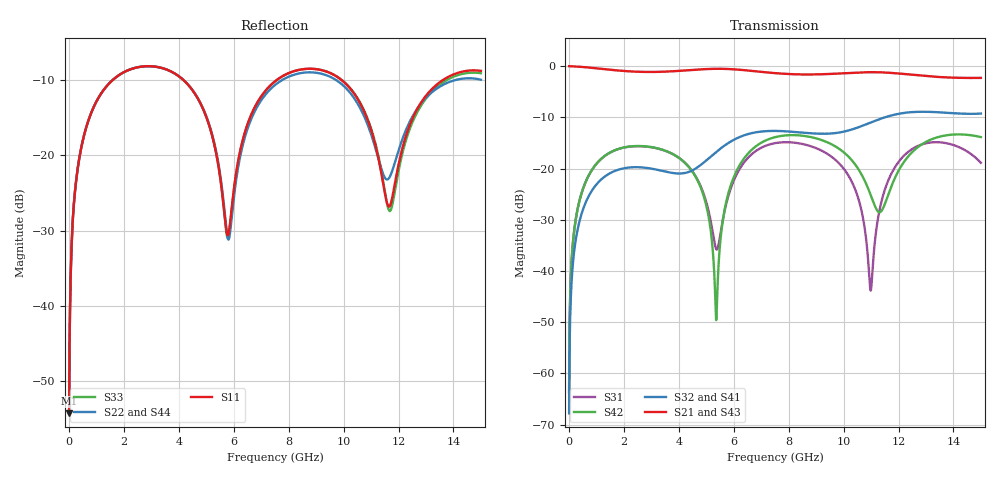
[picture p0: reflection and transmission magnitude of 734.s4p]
! Created with skrf 1.8.0 (http://scikit-rf.org).
# GHz S RI R 50.0
!freq ReS11 ImS11 ReS12 ImS12 ReS13 ImS13
! ReS14 ImS14
! ReS21 ImS21 ReS22 ImS22 ReS23 ImS23
! ReS24 ImS24
! ReS31 ImS31 ReS32 ImS32 ReS33 ImS33
! ReS34 ImS34
! ReS41 ImS41 ReS42 ImS42 ReS43 ImS43
! ReS44 ImS44
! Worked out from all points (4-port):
!   2499 points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, 5 MHz to 15 GHz, reference 50 ohm
!   strongest paths, dB at 5 MHz, 3.476 GHz, 7.19 GHz, 11.1 GHz, 15 GHz:
!     S21: 0.0, -1.1, -1.2, -1.2, -2.3
!     S43: 0.0, -1.1, -1.2, -1.2, -2.3
!     S32: -67.8, -20.6, -12.7, -10.8, -9.3
!     S41: -67.8, -20.6, -12.7, -10.8, -9.3
!     S42: -63.7, -16.5, -14.4, -26.7, -13.9
!     S31: -63.7, -16.5, -15.5, -36.6, -18.9
!   lowest |S11| = -54.2 dB at 5 MHz (marker M1), VSWR 1.00, Z = 50.2 + j0.117 ohm
!   |S11| at or under -10 dB: start of sweep to 1.598 GHz; 4.161 GHz to 7.574 GHz (3.413 GHz wide, 58.2 % of centre); 9.918 GHz to 13.63 GHz (3.709 GHz wide, 31.5 % of centre)
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0.005  0.00155 0.00117  0.9984 -0.00301  7.86e-05 0.000648  -7.62e-05 -0.0004
       0.9984 -0.00301  0.00155 0.00117  -7.62e-05 -0.0004  7.86e-05 0.000648
       7.86e-05 0.000648  -7.62e-05 -0.0004  0.00155 0.00117  0.9984 -0.00301
       -7.62e-05 -0.0004  7.86e-05 0.000648  0.9984 -0.00301  0.00155 0.00117
0.3126303  0.0218 0.0774  0.9702 -0.1878  0.0103 0.0387  -0.00861 -0.0237
           0.9702 -0.1878  0.0218 0.0774  -0.00861 -0.0237  0.0104 0.0387
           0.0103 0.0387  -0.00861 -0.0237  0.0218 0.0774  0.9702 -0.1878
           -0.00861 -0.0237  0.0104 0.0387  0.9702 -0.1878  0.0218 0.0774
1.569404  0.2548 0.1815  0.5801 -0.7103  0.1284 0.0704  -0.0915 -0.0113
          0.5801 -0.7103  0.2544 0.1818  -0.0915 -0.0113  0.1295 0.069
          0.1284 0.0704  -0.0915 -0.0113  0.2548 0.1815  0.5802 -0.7103
          -0.0915 -0.0113  0.1295 0.069  0.5802 -0.7103  0.2544 0.1818
5.358483  0.0493 -0.091  -0.8915 -0.3017  -0.0155 -0.0054  -0.0422 0.1386
          -0.8915 -0.3017  0.0493 -0.094  -0.0418 0.1387  0.0033 -0.000223
          -0.0155 -0.0054  -0.0418 0.1387  0.0485 -0.0909  -0.8915 -0.3017
          -0.0422 0.1386  0.0033 -0.000223  -0.8915 -0.3017  0.05 -0.0935
9.097541  0.3642 -0.0656  0.0358 0.8301  0.1434 -0.0564  0.2051 -0.0745
          0.0358 0.8301  0.348 -0.0394  0.2051 -0.0761  0.1454 -0.1279
          0.1434 -0.0564  0.2051 -0.0761  0.3648 -0.0643  0.0353 0.8298
          0.2051 -0.0745  0.1454 -0.1279  0.0353 0.8298  0.3492 -0.0406
10.98583  0.0871 -0.1225  0.7529 0.44  -0.00625 -0.00149  0.1357 -0.2465
          0.7529 0.44  0.1038 -0.0948  0.1341 -0.2474  -0.0403 -0.0378
          -0.00625 -0.00149  0.1341 -0.2474  0.0873 -0.1263  0.7515 0.4415
          0.1357 -0.2465  -0.0403 -0.0378  0.7515 0.4415  0.1074 -0.0972
15  0.3595 -0.0479  0.00487 -0.7672  0.0842 -0.0764  -0.3395 0.0395
    0.00487 -0.7672  0.3164 -0.0166  -0.3412 0.0447  0.0861 -0.1835
    0.0842 -0.0764  -0.3412 0.0447  0.3481 -0.0351  0.00563 -0.7716
    -0.3395 0.0395  0.0861 -0.1835  0.00563 -0.7716  0.3054 -0.0288
